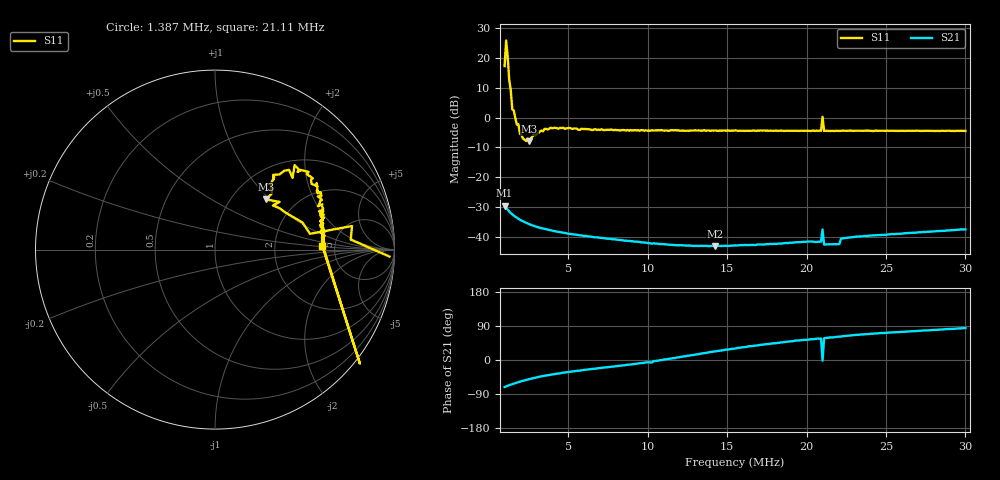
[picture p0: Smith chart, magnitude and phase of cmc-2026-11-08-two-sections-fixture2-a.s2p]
!File created by NanoVNA-F V2
# Hz S RI R 50
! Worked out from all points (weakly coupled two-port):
!   301 points, 1 MHz to 30 MHz, reference 50 ohm
!   highest |S21| = -29.48 dB at 1 MHz (marker M1); lowest = -43.0 dB at 14.24 MHz (marker M2)
!   lowest |S11| = -8.0 dB at 2.547 MHz (marker M3), VSWR 2.33, Z = 71.4 + j47.4 ohm
!   |S11| at or under -10 dB: nowhere
!   S12 and S22 are empty: the file has one direction only
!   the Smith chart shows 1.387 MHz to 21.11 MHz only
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1000000  -5.036 5.202  0.0108 -0.0318  0 0  0 0
1096666  -18.93 -4.191  0.0108 -0.0291  0 0  0 0
1193332  9.71 -3.943  0.0108 -0.0268  0 0  0 0
1289998  4.21 0.6337  0.0108 -0.0248  0 0  0 0
1386664  2.802 0.6308  0.0108 -0.0231  0 0  0 0
1483330  1.366 -0.1192  0.0108 -0.0217  0 0  0 0
1579996  1.314 -0.0446  0.0108 -0.0203  0 0  0 0
1773328  0.7564 0.0558  0.0108 -0.0184  0 0  0 0
1869994  0.7634 0.1313  0.0107 -0.0173  0 0  0 0
1966660  0.5294 0.088  0.0107 -0.0165  0 0  0 0
2546656  0.2853 0.2792  0.0105 -0.0128  0 0  0 0
3513316  0.4437 0.4707  0.0104 -0.00919  0 0  0 0
5833300  0.5984 0.2524  0.00959 -0.00492  0 0  0 0
1.06666e7  0.604 0.1202  0.00779 -0.000213  0 0  0 0
1.424324e7  0.6046 0.0714  0.00656 0.00276  0 0  0 0
1.54999e7  0.6071 0.0568  0.00633 0.00366  0 0  0 0
2.03332e7  0.5996 0.0221  0.00495 0.00694  0 0  0 0
2.09132e7  0.6009 0.0207  0.00462 0.00711  0 0  0 0
2.100986e7  0.8074 -0.6356  0.0135 -0.00045  0 0  0 0
2.110653e7  0.5977 0.0196  0.00408 0.00638  0 0  0 0
2.51665e7  0.5996 -0.00264  0.00341 0.0106  0 0  0 0
2.99998e7  0.5972 -0.0257  0.00136 0.0135  0 0  0 0
